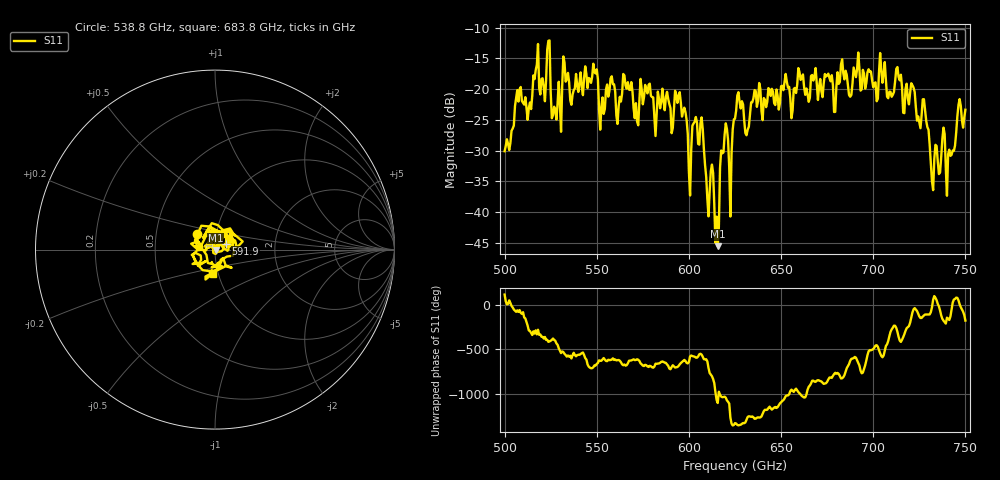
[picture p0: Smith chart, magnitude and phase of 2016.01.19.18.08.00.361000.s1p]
!Created with skrf (http://scikit-rf.org).
# GHz S RI R 50.0
!freq ReS11 ImS11
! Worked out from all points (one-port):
!   401 points, 500 GHz to 750 GHz, reference 50 ohm
!   lowest |S11| = -45.6 dB at 615.6 GHz (marker M1), VSWR 1.01, Z = 50.5 - j0.233 ohm
!   |S11| at or under -10 dB: start of sweep to end of sweep
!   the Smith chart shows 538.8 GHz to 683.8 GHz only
!   S11 on the Smith chart (normalised r, x): 538.8 GHz: 0.80, +0.14; 591.9 GHz: 1.13, +0.07; 683.8 GHz: 0.94, -0.26
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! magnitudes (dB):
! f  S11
! 500 GHz  -30.1
! 507.5 GHz  -22.0
! 513.8 GHz  -22.2
! 516.9 GHz  -16.9
! 520.6 GHz  -18.2
! 523.8 GHz  -12.1
! 526.9 GHz  -22.9
! 531.2 GHz  -19.4
! 538.8 GHz  -17.5
! 562.5 GHz  -21.3
! 565.6 GHz  -19.4
! 591.9 GHz  -23.2
! 593.8 GHz  -22.2
! 600 GHz  -33.5
! 606.9 GHz  -24.6
! 610 GHz  -37.9
! 615.6 GHz  -45.6
! 618.8 GHz  -30.3
! 622.5 GHz  -40.7
! 625 GHz  -24.8
! 656.2 GHz  -23.5
! 683.8 GHz  -17.4
! 687.5 GHz  -21.2
! 705 GHz  -19.0
! 718.8 GHz  -21.5
! 728.1 GHz  -23.4
! 731.9 GHz  -35.0
! 750 GHz  -23.4
